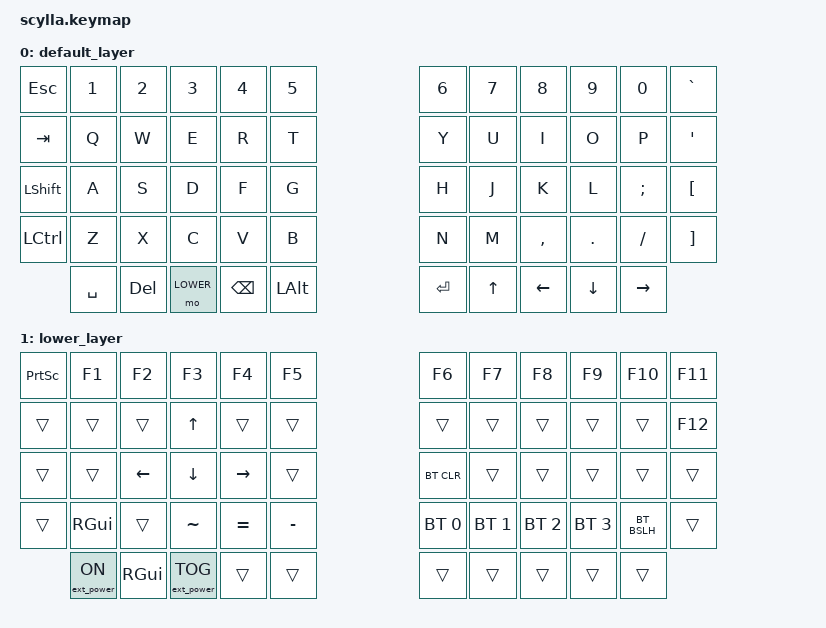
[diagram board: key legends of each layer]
#include <behaviors.dtsi>
#include <dt-bindings/zmk/keys.h>
#include <dt-bindings/zmk/bt.h>
#include <dt-bindings/zmk/outputs.h>
#include <dt-bindings/zmk/mouse.h>
#include <dt-bindings/zmk/ext_power.h>

#define DEFAULT 0
#define LOWER 1
#define RAISE 2

/ {
    keymap {
        compatible = "zmk,keymap";

        default_layer {
        // ------------------------------------------------------------------------------------------------------------
        // |  ESC  |  1  |  2  |  3   |  4   |  5   |                   |  6   |  7    |  8    |  9   |   0   | GRAVE |
        // |  TAB  |  Q  |  W  |  E   |  R   |  T   |                   |  Y   |  U    |  I    |  O   |   P   |   '   |
        // | SHIFT |  A  |  S  |  D   |  F   |  G   |                   |  H   |  J    |  K    |  L   |   ;   |  LBKT |
        // | CTRL  |  Z  |  X  |  C   |  V   |  B   |                   |  N   |  M    |  ,    |  .   |   /   |  RBKT |
        //                     | SPACE| BKSP | LALT |                   | ENTER|  UP   | RIGHT |
        //                            | DEL | LOWER|                   | LEFT | DOWN  |
            bindings = <
&kp ESC     &kp N1    &kp N2   &kp N3    &kp N4    &kp N5                    &kp N6    &kp N7   &kp N8    &kp N9    &kp N0   &kp GRAVE
&kp TAB     &kp Q     &kp W    &kp E     &kp R     &kp T                     &kp Y     &kp U    &kp I     &kp O     &kp P    &kp SQT
&kp LSHFT   &kp A     &kp S    &kp D     &kp F     &kp G                     &kp H     &kp J    &kp K     &kp L     &kp SEMI &kp LBKT
&kp LCTRL   &kp Z     &kp X    &kp C     &kp V     &kp B                     &kp N     &kp M    &kp COMMA &kp DOT   &kp FSLH &kp RBKT
            &kp SPACE &kp DEL &mo LOWER &kp BSPC  &kp LALT                  &kp ENTER &kp UP   &kp LEFT  &kp DOWN  &kp RIGHT
            >;
        };

        // ------------------------------------------------------------------------------------------------------------
        // | PSCRN |  F1  |  F2  |  F3  |  F4  |  F5  |                   |  F6  |  F7  |  F8  |  F9  |  F10  |  F11  |
        // |  TRAN | TRAN | TRAN | UP   | TRAN | TRAN |                   | TRAN | TRAN | TRAN | TRAN | TRAN  |  F12  |
        // |  TRAN | TRAN | LEFT | DOWN | RIGHT| TRAN |                   | BT0  | BT1  | BT2  | BT3  |  \    | TRAN  |
        // |  TRAN | RGUI | TRAN | TRAN | TRAN | TRAN |                   | HOME | END  | TRAN | TRAN | TRAN  | TRAN  |
        //                       | EP_ON| RGUI |EP_TOG|                   | TRAN | TRAN | TRAN |
        //                              | TRAN | TRAN |                   | TRAN | TRAN |
        lower_layer {
            bindings = <
&kp PSCRN   &kp F1       &kp F2       &kp F3        &kp F4       &kp F5                 &kp F6  &kp F7  &kp F8  &kp F9  &kp F10 &kp F11
&trans      &trans       &trans       &kp UP        &trans       &trans                 &trans  &trans  &trans  &trans  &trans  &kp F12
&trans      &trans       &kp LEFT     &kp DOWN      &kp RIGHT    &trans                 &bt BT_CLR  &trans  &trans  &trans  &trans  &trans
&trans      &kp RGUI     &trans       &kp TILDE     &kp EQUAL    &kp MINUS              &bt BT_SEL 0  &bt BT_SEL 1  &bt BT_SEL 2  &bt BT_SEL 3  &bt BSLH &trans
            &ext_power EP_ON &kp RGUI &ext_power EP_TOG &trans   &trans                 &trans &trans  &trans  &trans  &trans
            >;
        };
    };
};
